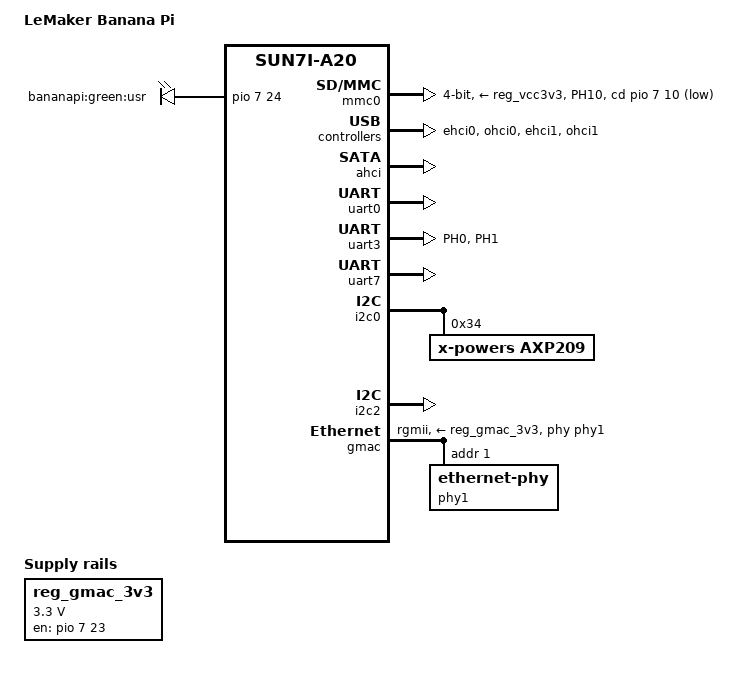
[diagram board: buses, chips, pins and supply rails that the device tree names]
/*
 * Copyright 2014 Hans de Goede <hdegoede@xxxxxxxxxx>
 *
 * The code contained herein is licensed under the GNU General Public
 * License. You may obtain a copy of the GNU General Public License
 * Version 2 or later at the following locations:
 *
 * http://www.opensource.org/licenses/gpl-license.html
 * http://www.gnu.org/copyleft/gpl.html
 */

/dts-v1/;
/include/ "sun7i-a20.dtsi"
/include/ "sunxi-common-regulators.dtsi"

/ {
	model = "LeMaker Banana Pi";
	compatible = "lemaker,bananapi", "allwinner,sun7i-a20";

	soc@01c00000 {
		mmc0: mmc@01c0f000 {
			pinctrl-names = "default";
			pinctrl-0 = <&mmc0_pins_a>, <&mmc0_cd_pin_bananapi>;
			vmmc-supply = <&reg_vcc3v3>;
			bus-width = <4>;
			cd-gpios = <&pio 7 10 0>; /* PH10 */
			cd-inverted;
			status = "okay";
		};

		usbphy: phy@01c13400 {
			usb1_vbus-supply = <&reg_usb1_vbus>;
			usb2_vbus-supply = <&reg_usb2_vbus>;
			status = "okay";
		};

		ehci0: usb@01c14000 {
			status = "okay";
		};

		ohci0: usb@01c14400 {
			status = "okay";
		};

		ahci: sata@01c18000 {
			status = "okay";
		};

		ehci1: usb@01c1c000 {
			status = "okay";
		};

		ohci1: usb@01c1c400 {
			status = "okay";
		};

		pinctrl@01c20800 {
			uart3_pins_bananapi: uart3_pin@0 {
				allwinner,pins = "PH0", "PH1";
				allwinner,function = "uart3";
				allwinner,drive = <0>;
				allwinner,pull = <0>;
			};

			mmc0_cd_pin_bananapi: mmc0_cd_pin@0 {
				allwinner,pins = "PH10";
				allwinner,function = "gpio_in";
				allwinner,drive = <0>;
				allwinner,pull = <1>;
			};

			gmac_power_pin_bananapi: gmac_power_pin@0 {
				allwinner,pins = "PH23";
				allwinner,function = "gpio_out";
				allwinner,drive = <0>;
				allwinner,pull = <0>;
			};

			led_pins_bananapi: led_pins@0 {
				allwinner,pins = "PH24";
				allwinner,function = "gpio_out";
				allwinner,drive = <0>;
				allwinner,pull = <0>;
			};
		};

		ir0: ir@01c21800 {
			pinctrl-names = "default";
			pinctrl-0 = <&ir0_pins_a>;
			status = "okay";
		};

		uart0: serial@01c28000 {
			pinctrl-names = "default";
			pinctrl-0 = <&uart0_pins_a>;
			status = "okay";
		};

		uart3: serial@01c28c00 {
			pinctrl-names = "default";
			pinctrl-0 = <&uart3_pins_bananapi>;
			status = "okay";
		};

		uart7: serial@01c29c00 {
			pinctrl-names = "default";
			pinctrl-0 = <&uart7_pins_a>;
			status = "okay";
		};

		i2c0: i2c@01c2ac00 {
			pinctrl-names = "default";
			pinctrl-0 = <&i2c0_pins_a>;
			status = "okay";

			axp209: pmic@34 {
				compatible = "x-powers,axp209";
				reg = <0x34>;
				interrupt-parent = <&nmi_intc>;
				interrupts = <0 8>;

				interrupt-controller;
				#interrupt-cells = <1>;
			};
		};

		i2c2: i2c@01c2b400 {
			pinctrl-names = "default";
			pinctrl-0 = <&i2c2_pins_a>;
			status = "okay";
		};

		gmac: ethernet@01c50000 {
			pinctrl-names = "default";
			pinctrl-0 = <&gmac_pins_rgmii_a>;
			phy = <&phy1>;
			phy-mode = "rgmii";
			phy-supply = <&reg_gmac_3v3>;
			status = "okay";

			phy1: ethernet-phy@1 {
				reg = <1>;
			};
		};
	};

	leds {
		compatible = "gpio-leds";
		pinctrl-names = "default";
		pinctrl-0 = <&led_pins_bananapi>;

		green {
			label = "bananapi:green:usr";
			gpios = <&pio 7 24 0>;
		};
	};

	reg_usb1_vbus: usb1-vbus {
		status = "okay";
	};

	reg_usb2_vbus: usb2-vbus {
		status = "okay";
	};

	reg_gmac_3v3: gmac-3v3 {
		compatible = "regulator-fixed";
		pinctrl-names = "default";
		pinctrl-0 = <&gmac_power_pin_bananapi>;
		regulator-name = "gmac-3v3";
		regulator-min-microvolt = <3300000>;
		regulator-max-microvolt = <3300000>;
		startup-delay-us = <50000>;
		enable-active-high;
		gpio = <&pio 7 23 0>;
	};
};
